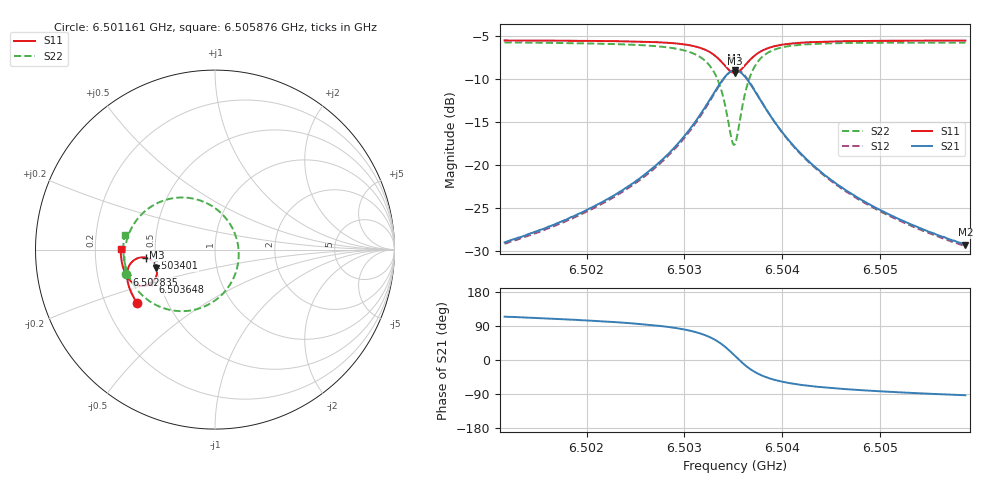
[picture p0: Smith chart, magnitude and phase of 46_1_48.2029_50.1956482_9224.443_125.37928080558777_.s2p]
#  HZ  S  RI  R  50.00
! Rohde & Schwarz Vector Network Analyzer
! Rohde-Schwarz,ZNB20-2Port,1311601062101988,3.16
! Created: UTC 3/20/2024, 11:38:04 AM
! freq[Hz]  re:S11  im:S11  re:S21  im:S21  re:S12  im:S12  re:S22  im:S22
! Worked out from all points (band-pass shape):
!   401 points, 6.501161 GHz to 6.505876 GHz, reference 50 ohm
!   highest |S21| = -9.03 dB at 6.503518 GHz (marker M1); lowest = -29.2 dB at 6.505876 GHz (marker M2)
!   |S21| within 3 dB of the highest: 6.503282 GHz to 6.503754 GHz (471.4 kHz wide, 0.00725 % of centre)
!   lowest |S11| = -9.3 dB at 6.503518 GHz (marker M3), VSWR 2.04, Z = 25 - j5.67 ohm
!   |S11| at or under -10 dB: nowhere
!   |S22| runs from -17.7 to -5.8 dB; largest |S21 - S12| = 0.012
!   S11 on the Smith chart (normalised r, x): 6.501161 GHz: 0.34, -0.27; 6.502835 GHz: 0.33, -0.13; 6.503401 GHz: 0.45, -0.05; 6.503648 GHz: 0.46, -0.20; 6.505876 GHz: 0.31, +0.00
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6.5011609e9  -0.4357 -0.2954  -0.0147 0.0325  -0.0129 0.0325  -0.4951 -0.1339
6.5019507e9  -0.4684 -0.2351  -0.0138 0.0513  -0.0113 0.0508  -0.5046 -0.0459
6.5023986e9  -0.4832 -0.1937  -0.0102 0.0729  -0.00709 0.0714  -0.4986 0.0222
6.5027405e9  -0.4902 -0.1537  -0.000363 0.1033  0.00328 0.1006  -0.4763 0.0964
6.5028348e9  -0.4905 -0.1402  0.0055 0.1157  0.00937 0.1126  -0.4634 0.1233
6.5030352e9  -0.4847 -0.1055  0.0307 0.1526  0.0343 0.1479  -0.4111 0.1944
6.5031766e9  -0.4681 -0.0748  0.0726 0.1877  0.0752 0.1816  -0.3301 0.2546
6.5033063e9  -0.4303 -0.0479  0.1533 0.2141  0.1537 0.2077  -0.1831 0.2903
6.5034006e9  -0.3817 -0.0458  0.2486 0.1958  0.2485 0.1912  -0.0177 0.2432
6.5034831e9  -0.3373 -0.0771  0.3296 0.1169  0.3322 0.1129  0.1114 0.0873
6.5035185e9  -0.326 -0.1003  0.3473 0.0661  0.3513 0.0604  0.1319 -0.00894
6.5035421e9  -0.323 -0.1174  0.3506 0.0297  0.3549 0.0229  0.1286 -0.0755
6.5035774e9  -0.3255 -0.1426  0.3423 -0.0226  0.3462 -0.0317  0.0989 -0.1684
6.5036482e9  -0.3488 -0.1813  0.2928 -0.1014  0.2928 -0.1134  -0.018 -0.2958
6.5037425e9  -0.3913 -0.2018  0.211 -0.1457  0.2058 -0.1564  -0.1849 -0.3429
6.5038132e9  -0.4182 -0.2019  0.1615 -0.1507  0.1544 -0.1589  -0.2774 -0.3293
6.5038957e9  -0.4422 -0.1946  0.1194 -0.1442  0.112 -0.15  -0.3513 -0.2961
6.5040607e9  -0.4721 -0.1734  0.0697 -0.1222  0.0631 -0.1248  -0.4318 -0.2264
6.5043083e9  -0.495 -0.1422  0.0358 -0.0942  0.0307 -0.0947  -0.4807 -0.1463
6.5046501e9  -0.5106 -0.105  0.0162 -0.0698  0.0126 -0.0694  -0.5037 -0.0716
6.5050981e9  -0.5203 -0.0622  0.00548 -0.0514  0.00314 -0.0507  -0.5109 -0.00357
6.5058761e9  -0.526 0.00462  -0.00184 -0.0346  -0.0033 -0.0337  -0.5041 0.0826
